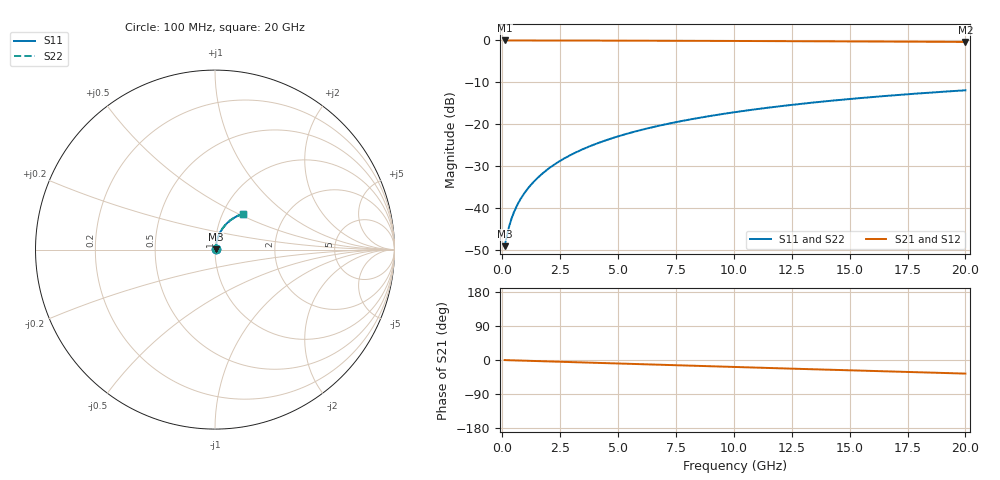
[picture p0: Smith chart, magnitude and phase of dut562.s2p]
! Touchstone file exported from HFSS 2026.1.0
!  File:  C:/ffzhzh/LocalFiles/Ansys_Project_Files/temp_train_TMRDL_562_1783007864_46388.aedt
!  Generated:  11:59:28 PM Jul  2, 2026
!  Design:  TMRDL
!  Project:  temp_train_TMRDL_562_1783007864_46388
! Variables:
!  h_bsmrdl = 2um
!  h_ox = 20um
!  h_rdl = 5um
!  h_sub = 80um
!  h_tmrdl = 2.47um
!  h_tsv = 80um
!  h_via = 3um
!  l_bsmrdl = 300um
!  l_sub = 948.33um
!  l_tmrdl = 548.33um
!  m_sub = 200um
!  pitch = 47.13um
!  r_tsv = 6um
!  s_tmrdl = 10um
!  w_bsmrdl = 18um
!  w_sub = 500um
!  w_tmrdl = 29.96um
!  x_tsv_center1 = 563.31um
!  x_tsv_center2 = 881.31um
!  x_tsv_center3 = 1459.6um
!  x_tsv_center4 = 1777.6um
!  x_tsv_center5 = 2355.89um
!  x_tsv_center6 = 2673.89um
# GHz S MA R 50.000000
! Terminal data exported
! Port[1] = TM_RDL1_1_T1
! Port[2] = TM_RDL1_1_T2
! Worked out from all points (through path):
!   200 points, 100 MHz to 20 GHz, reference 50 ohm
!   highest |S21| = -0.03 dB at 100 MHz (marker M1); lowest = -0.4 dB at 20 GHz (marker M2)
!   group delay of S21, straight-line fit = 4.98 ps
!   lowest |S11| = -49.2 dB at 100 MHz (marker M3), VSWR 1.01, Z = 50.3 + j0.174 ohm
!   |S11| at or under -10 dB: start of sweep to end of sweep
!   |S22| runs from -49.2 to -11.9 dB; largest |S21 - S12| = 3e-15
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0.1  0.00347 30.0  0.997 -0.2  0.997 -0.2  0.00347 30.0
! Gamma 0 0 0 0
! Port Impedance 50 0 50 0
0.2  0.004659 46.8  0.9968 -0.4  0.9968 -0.4  0.004659 46.8
0.3  0.006033 55.5  0.9966 -0.6  0.9966 -0.6  0.006033 55.5
0.4  0.007423 60.4  0.9964 -0.8  0.9964 -0.8  0.007423 60.4
0.5  0.008793 63.8  0.9962 -1.0  0.9962 -1.0  0.008793 63.8
0.6  0.01015 66.3  0.9961 -1.2  0.9961 -1.2  0.01015 66.3
0.8  0.01284 69.8  0.9958 -1.5  0.9958 -1.5  0.01284 69.8
1.1  0.01689 73.2  0.9956 -2.1  0.9956 -2.1  0.01689 73.2
1.3  0.01963 74.7  0.9955 -2.4  0.9955 -2.4  0.01963 74.7
1.6  0.02376 76.2  0.9953 -3.0  0.9953 -3.0  0.02376 76.2
2.1  0.03072 77.5  0.995 -3.9  0.995 -3.9  0.03072 77.5
2.7  0.03912 78.1  0.9945 -5.0  0.9945 -5.0  0.03912 78.1
3.5  0.05034 77.9  0.9939 -6.5  0.9939 -6.5  0.05034 77.9
4.2  0.06012 77.4  0.9931 -7.8  0.9931 -7.8  0.06012 77.4
5  0.07123 76.4  0.9922 -9.3  0.9922 -9.3  0.07123 76.4
5.9  0.08362 75.2  0.9909 -10.9  0.9909 -10.9  0.08362 75.2
6.8  0.09587 73.9  0.9895 -12.6  0.9895 -12.6  0.09587 73.9
8.3  0.1159 71.5  0.9868 -15.3  0.9868 -15.3  0.1159 71.5
10.1  0.1394 68.5  0.9831 -18.6  0.9831 -18.6  0.1394 68.5
13.4  0.1802 62.9  0.9753 -24.4  0.9753 -24.4  0.1802 62.9
16.7  0.2182 57.4  0.9666 -30.2  0.9666 -30.2  0.2182 57.4
20  0.2529 51.9  0.9573 -35.9  0.9573 -35.9  0.2529 51.9
